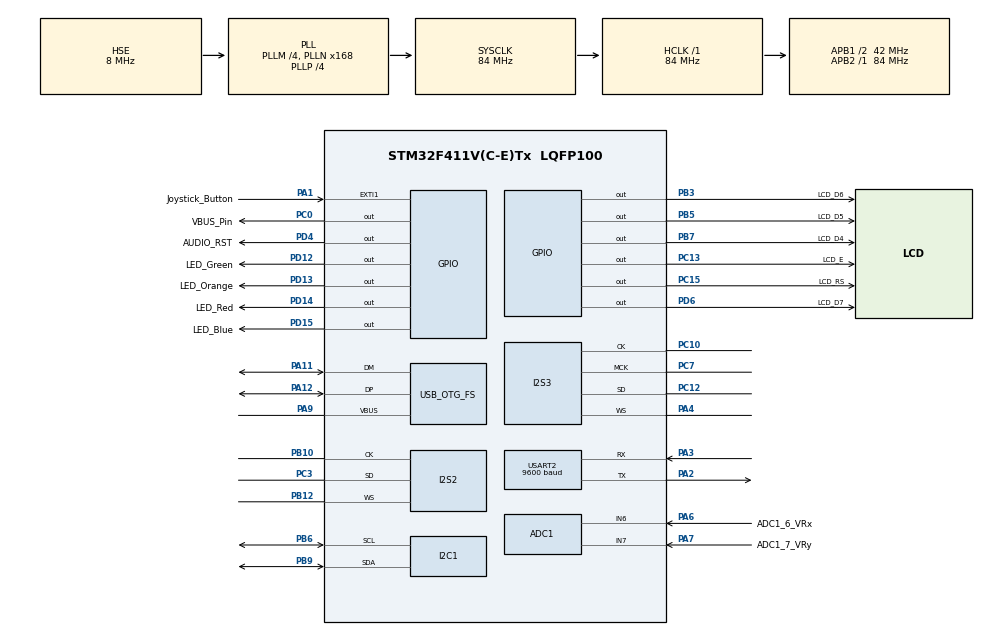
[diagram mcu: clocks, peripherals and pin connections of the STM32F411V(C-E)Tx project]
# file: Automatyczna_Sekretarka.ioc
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ADC1.Channel-0\#ChannelRegularConversion=ADC_CHANNEL_7
ADC1.Channel-1\#ChannelRegularConversion=ADC_CHANNEL_6
ADC1.ClockPrescaler=ADC_CLOCK_SYNC_PCLK_DIV8
ADC1.ContinuousConvMode=ENABLE
ADC1.DMAContinuousRequests=ENABLE
ADC1.NbrOfConversion=2
ADC1.NbrOfConversionFlag=1
ADC1.Rank-0\#ChannelRegularConversion=1
ADC1.Rank-1\#ChannelRegularConversion=2
ADC1.SamplingTime-0\#ChannelRegularConversion=ADC_SAMPLETIME_480CYCLES
ADC1.SamplingTime-1\#ChannelRegularConversion=ADC_SAMPLETIME_480CYCLES
ADC1.master=1
Dma.ADC1.2.Direction=DMA_PERIPH_TO_MEMORY
Dma.ADC1.2.FIFOMode=DMA_FIFOMODE_DISABLE
Dma.ADC1.2.Instance=DMA2_Stream0
Dma.ADC1.2.MemDataAlignment=DMA_MDATAALIGN_HALFWORD
Dma.ADC1.2.MemInc=DMA_MINC_ENABLE
Dma.ADC1.2.Mode=DMA_CIRCULAR
Dma.ADC1.2.PeriphDataAlignment=DMA_PDATAALIGN_HALFWORD
Dma.ADC1.2.PeriphInc=DMA_PINC_DISABLE
Dma.ADC1.2.Priority=DMA_PRIORITY_LOW
Dma.Request0=SPI2_RX
Dma.Request1=SPI3_TX
Dma.Request2=ADC1
Dma.SPI2_RX.0.Direction=DMA_PERIPH_TO_MEMORY
Dma.SPI2_RX.0.FIFOMode=DMA_FIFOMODE_DISABLE
Dma.SPI2_RX.0.Instance=DMA1_Stream3
Dma.SPI2_RX.0.MemDataAlignment=DMA_MDATAALIGN_HALFWORD
Dma.SPI2_RX.0.MemInc=DMA_MINC_ENABLE
Dma.SPI2_RX.0.Mode=DMA_CIRCULAR
Dma.SPI2_RX.0.PeriphDataAlignment=DMA_PDATAALIGN_HALFWORD
Dma.SPI2_RX.0.PeriphInc=DMA_PINC_DISABLE
Dma.SPI2_RX.0.Priority=DMA_PRIORITY_HIGH
Dma.SPI3_TX.1.Direction=DMA_MEMORY_TO_PERIPH
Dma.SPI3_TX.1.FIFOMode=DMA_FIFOMODE_ENABLE
Dma.SPI3_TX.1.FIFOThreshold=DMA_FIFO_THRESHOLD_FULL
Dma.SPI3_TX.1.Instance=DMA1_Stream5
Dma.SPI3_TX.1.MemBurst=DMA_MBURST_SINGLE
Dma.SPI3_TX.1.MemDataAlignment=DMA_MDATAALIGN_HALFWORD
Dma.SPI3_TX.1.MemInc=DMA_MINC_ENABLE
Dma.SPI3_TX.1.Mode=DMA_CIRCULAR
Dma.SPI3_TX.1.PeriphBurst=DMA_PBURST_SINGLE
Dma.SPI3_TX.1.PeriphDataAlignment=DMA_PDATAALIGN_HALFWORD
Dma.SPI3_TX.1.PeriphInc=DMA_PINC_DISABLE
Dma.SPI3_TX.1.Priority=DMA_PRIORITY_HIGH
FATFS._MAX_SS=4096
I2S2.AudioFreq=I2S_AUDIOFREQ_16K
I2S2.ErrorAudioFreq=0.24 %
I2S2.FullDuplexMode=I2S_FULLDUPLEXMODE_DISABLE
I2S2.Instance=SPI$Index
I2S2.Mode=I2S_MODE_SLAVE_RX
I2S2.RealAudioFreq=16.039 KHz
I2S2.VirtualMode=I2S_MODE_SLAVE
I2S3.AudioFreq=I2S_AUDIOFREQ_44K
I2S3.ErrorAudioFreq=0.24 %
I2S3.FullDuplexMode=I2S_FULLDUPLEXMODE_DISABLE
I2S3.Instance=SPI$Index
I2S3.RealAudioFreq=44.108 KHz
I2S3.VirtualMode=I2S_MODE_MASTER
Mcu.Family=STM32F4
Mcu.Name=STM32F411V(C-E)Tx
Mcu.Package=LQFP100
NVIC.DMA1_Stream3_IRQn=true\:0\:0\:false\:false\:true\:false\:true
NVIC.DMA1_Stream5_IRQn=true\:0\:0\:false\:false\:true\:false\:true
NVIC.DMA2_Stream0_IRQn=true\:0\:0\:false\:false\:true\:false\:true
NVIC.EXTI1_IRQn=true\:15\:0\:true\:false\:true\:true\:true
NVIC.OTG_FS_IRQn=true\:0\:0\:false\:false\:true\:false\:true
NVIC.PriorityGroup=NVIC_PRIORITYGROUP_4
PA1.GPIO_Label=Joystick_Button
PA1.GPIO_PuPd=GPIO_PULLUP
PA1.Signal=GPXTI1
PA11.Mode=Host_Only
PA11.Signal=USB_OTG_FS_DM
PA12.Mode=Host_Only
PA12.Signal=USB_OTG_FS_DP
PA2.Mode=Asynchronous
PA2.Signal=USART2_TX
PA3.Mode=Asynchronous
PA3.Signal=USART2_RX
PA4.Mode=Half_Duplex_Master
PA4.Signal=I2S3_WS
PA6.GPIO_Label=ADC1_6_VRx
PA6.Signal=ADCx_IN6
PA7.GPIO_Label=ADC1_7_VRy
PA7.Signal=ADCx_IN7
PA9.Mode=Activate_VBUS
PA9.Signal=USB_OTG_FS_VBUS
PB10.Mode=Half_Duplex_Slave
PB10.Signal=I2S2_CK
PB12.Mode=Half_Duplex_Slave
PB12.Signal=I2S2_WS
PB3.GPIO_Label=LCD_D6
PB3.Signal=GPIO_Output
PB5.GPIO_Label=LCD_D5
PB5.Signal=GPIO_Output
PB6.Mode=I2C
PB6.Signal=I2C1_SCL
PB7.GPIO_Label=LCD_D4
PB7.Signal=GPIO_Output
PB9.Mode=I2C
PB9.Signal=I2C1_SDA
PC0.GPIO_Label=VBUS_Pin
PC0.Signal=GPIO_Output
PC10.Mode=Half_Duplex_Master
PC10.Signal=I2S3_CK
PC12.Mode=Half_Duplex_Master
PC12.Signal=I2S3_SD
PC13-ANTI_TAMP.GPIO_Label=LCD_E
PC13-ANTI_TAMP.Signal=GPIO_Output
PC15-OSC32_OUT.GPIO_Label=LCD_RS
PC15-OSC32_OUT.Signal=GPIO_Output
PC3.Mode=Half_Duplex_Slave
PC3.Signal=I2S2_SD
PC7.Mode=Master_Clock_Activated
PC7.Signal=I2S3_MCK
PD12.GPIO_Label=LED_Green
PD12.Signal=GPIO_Output
PD13.GPIO_Label=LED_Orange
PD13.Signal=GPIO_Output
PD14.GPIO_Label=LED_Red
PD14.Signal=GPIO_Output
PD15.GPIO_Label=LED_Blue
PD15.Signal=GPIO_Output
PD4.GPIO_Label=AUDIO_RST
PD4.Signal=GPIO_Output
PD6.GPIO_Label=LCD_D7
PD6.Signal=GPIO_Output
PH0\ -\ OSC_IN.Mode=HSE-External-Oscillator
PH0\ -\ OSC_IN.Signal=RCC_OSC_IN
PH1\ -\ OSC_OUT.Mode=HSE-External-Oscillator
PH1\ -\ OSC_OUT.Signal=RCC_OSC_OUT
ProjectManager.HeapSize=0x200
ProjectManager.StackSize=0x400
ProjectManager.TargetToolchain=STM32CubeIDE
RCC.48MHZClocksFreq_Value=48000000
RCC.AHBFreq_Value=84000000
RCC.APB1CLKDivider=RCC_HCLK_DIV2
RCC.APB1Freq_Value=42000000
RCC.APB1TimFreq_Value=84000000
RCC.APB2Freq_Value=84000000
RCC.APB2TimFreq_Value=84000000
RCC.CortexFreq_Value=84000000
RCC.HCLKFreq_Value=84000000
RCC.HSE_VALUE=8000000
RCC.HSI_VALUE=16000000
RCC.LSE_VALUE=32768
RCC.PLLI2SM=8
RCC.PLLI2SN=271
RCC.PLLI2SR=6
RCC.PLLM=4
RCC.PLLN=168
RCC.PLLP=RCC_PLLP_DIV4
RCC.PLLQ=7
RCC.SYSCLKFreq_VALUE=84000000
RCC.SYSCLKSource=RCC_SYSCLKSOURCE_PLLCLK
RCC.VCOOutputFreq_Value=336000000
SH.ADCx_IN6.0=ADC1_IN6,IN6
SH.ADCx_IN7.0=ADC1_IN7,IN7
USART2.BaudRate=9600
USART2.VirtualMode=VM_ASYNC
USB_HOST.BSP.number=1
USB_HOST.USBH_HandleTypeDef=hUsbHostFS
USB_HOST.VirtualModeFS=Msc
USB_HOST0.BSP.STBoard=false
USB_HOST0.BSP.api=Unknown
USB_HOST0.BSP.i2caddr=0
USB_HOST0.BSP.instance=PC0
USB_HOST0.BSP.ip=GPIO
USB_HOST0.BSP.mode=Output
USB_HOST0.BSP.name=Drive_VBUS_FS
USB_HOST0.BSP.solution=PC0
USB_OTG_FS.VirtualMode=Host_Only
USB_OTG_FS.phy_itface=HCD_PHY_EMBEDDED
VP_CRC_VS_CRC.Mode=CRC_Activate
VP_FATFS_VS_USB.Mode=USB
VP_PDM2PCM_VS_PDM2PCM.Mode=PDM2PCM_Channel
VP_USB_HOST_VS_USB_HOST_MSC_FS.Mode=MSC_FS
board=custom

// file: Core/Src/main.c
/* USER CODE BEGIN Header */
/**
 ******************************************************************************
 * @file           : main.c
 * @brief          : Main program body
 ******************************************************************************
 * @attention
 *
 * <h2><center>&copy; Copyright (c) 2021 STMicroelectronics.
 * All rights reserved.</center></h2>
 *
 * This software component is licensed by ST under BSD 3-Clause license,
 * the "License"; You may not use this file except in compliance with the
 * License. You may obtain a copy of the License at:
 *                        opensource.org/licenses/BSD-3-Clause
 *
 ******************************************************************************
 */
/* USER CODE END Header */
#include "main.h"
#include "fatfs.h"
#include "pdm2pcm.h"
#include "usb_host.h"

/* USER CODE BEGIN Includes */
#include "lcd.h"
#include "lcd_menu.h"
#include "joystick.h"
/* USER CODE END Includes */

/* USER CODE BEGIN PD */
#define MAIN_MENU_LEN sizeof(mainMenu) / sizeof(mainMenu[0])
#define INFO_LEN sizeof(info) / sizeof(info[0])
/* USER CODE END PD */

ADC_HandleTypeDef hadc1;
DMA_HandleTypeDef hdma_adc1;

CRC_HandleTypeDef hcrc;

I2C_HandleTypeDef hi2c1;

I2S_HandleTypeDef hi2s2;
I2S_HandleTypeDef hi2s3;
DMA_HandleTypeDef hdma_spi2_rx;
DMA_HandleTypeDef hdma_spi3_tx;

UART_HandleTypeDef huart2;

/* USER CODE BEGIN PV */

// Pliki FATFS
extern FATFS USBHFatFS;
extern char USBHPath[4];

// status USB
extern ApplicationTypeDef Appli_state;

// status nagrywania
__IO uint32_t recordingStatus = STATUS_RECORDING_INACTIVE;

// Wartosci joysticka
uint16_t Joystick[2];

/* Status odtwarzania
 PLAY_Idle,
 PLAY_Pause,
 PLAY_Resume,
 */
PLAY_State_e playingStatus = PLAY_Idle;

// LCD
Lcd_HandleTypeDef lcd;

// Zakladki menu glownego
char *mainMenu[] = { "Nagraj", "Wiadomosci", "Informacje" };

/* USER CODE END PV */

void SystemClock_Config(void);
static void MX_GPIO_Init(void);
static void MX_DMA_Init(void);
static void MX_I2S2_Init(void);
static void MX_CRC_Init(void);
static void MX_I2C1_Init(void);
static void MX_I2S3_Init(void);
static void MX_ADC1_Init(void);
static void MX_USART2_UART_Init(void);
void MX_USB_HOST_Process(void);

/* USER CODE BEGIN PFP */

// Funkcja do szybkiego debugowania z wykorzystaniem UART
void Info_UART(char *info) {
	HAL_UART_Transmit(&huart2, (uint8_t*) info, strlen(info), HAL_MAX_DELAY); // tryb blokujacy
}

// Przerwanie pochodzace od przycisku
void HAL_GPIO_EXTI_Callback(uint16_t GPIO_Pin) {
	if (GPIO_Pin == GPIO_PIN_1) {
		Info_UART("Wcisnieto przycisk\r\n");
		if (playingStatus == PLAY_Resume) {
			playingStatus = PLAY_Pause;
		} else if (playingStatus == PLAY_Pause) {
			playingStatus = PLAY_Resume;
		}
	}
}

/* USER CODE END PFP */

int main(void)
{

  /* MCU Configuration--------------------------------------------------------*/

  /* Reset of all peripherals, Initializes the Flash interface and the Systick. */
  HAL_Init();

  /* Configure the system clock */
  SystemClock_Config();

  /* Initialize all configured peripherals */
  MX_GPIO_Init();
  MX_DMA_Init();
  MX_I2S2_Init();
  MX_CRC_Init();
  MX_FATFS_Init();
  MX_PDM2PCM_Init();
  MX_USB_HOST_Init();
  MX_I2C1_Init();
  MX_I2S3_Init();
  MX_ADC1_Init();
  MX_USART2_UART_Init();
  /* USER CODE BEGIN 2 */

	// LCD
	Lcd_PortType ports[] = { LCD_D4_GPIO_Port, LCD_D5_GPIO_Port,
	LCD_D6_GPIO_Port,
	LCD_D7_GPIO_Port };

	Lcd_PinType pins[] = { LCD_D4_Pin, LCD_D5_Pin, LCD_D6_Pin, LCD_D7_Pin };

	lcd = Lcd_create(ports, pins, LCD_RS_GPIO_Port, LCD_RS_Pin, LCD_E_GPIO_Port,
	LCD_E_Pin, LCD_4_BIT_MODE);

	HAL_ADC_Start_DMA(&hadc1, Joystick, 2);
	CS43L22_Init(hi2c1);
	CS43L22_SetVolume(180); //0-255

	audioI2S_setHandle(&hi2s3);

	// Status joysticka. Ustawiany na podstawie przetworzonych pomiarow.
	int joystickState = 0;

	// Status przycisku joysticka. 1 - wcisniety, 0 - puszczony.
	int joystickButtonState = 0;

	// Przechowuje aktualna pozycje w menu w pionie.
	int mainMenuUpDown = 0;

	// Przechowuje aktualna pozycje w menu w poziomie.
	//int mainMenuLeftRight = 0;

	// Przechowuje indeks pierwszej opcji aktualnie wyswietlanej w menu.
	int menuStartingPoint = 0;

	bool isSdCardMounted = 0;

	// poczatkowe wyswietlenie menu
	setCursor(0, 0);
	printMenu(mainMenu, MAIN_MENU_LEN, 0);

  /* USER CODE END 2 */

  /* Infinite loop */
	while (1) {
    MX_USB_HOST_Process();

    /* USER CODE BEGIN 3 */

		// Sprawdza czy podlaczono pamiec USB
		if (Appli_state == APPLICATION_START) {
			HAL_GPIO_WritePin(GPIOD, GPIO_PIN_12, GPIO_PIN_SET);
		}
		// Sprawdza czy rozlaczono pamiec USB
		else if (Appli_state == APPLICATION_DISCONNECT) {
			HAL_GPIO_WritePin(GPIOD, GPIO_PIN_12, GPIO_PIN_RESET);
			f_mount(NULL, (TCHAR const*) "", 0);
			isSdCardMounted = 0;
		}

		// Sprawdza czy pamiec USB jest przygotowana
		if (Appli_state == APPLICATION_READY) {

			// montuje pamiec USB
			if (!isSdCardMounted) {
				f_mount(&USBHFatFS, (const TCHAR*) USBHPath, 0);
				isSdCardMounted = 1;
				checkFiles();
			}

			// Sprawdza wychylenie joysticka. Funkcja zwraca status, nie wartosc pomiaru.
			// Status jest analizowany w dalszej czesci w funkcji updateMenu()
			joystickState = Joystick_State();

			// Sprawdza, czy przycisk joysticka jest wcisniety.
			joystickButtonState = (!HAL_GPIO_ReadPin(Joystick_Button_GPIO_Port,
			Joystick_Button_Pin));

			// Jezeli poruszono joystickiem w dol lub w gore.
			if (joystickState == 1 || joystickState == 2) {
				updateMenu(&mainMenu, MAIN_MENU_LEN, &mainMenuUpDown,
						&menuStartingPoint, joystickState);
			}

			// Jezeli wcisnieto przycisk.
			if (joystickButtonState) {

				// Oczekiwanie na puszczenie przycisku.
				while (joystickButtonState != 0) {
					joystickButtonState = !HAL_GPIO_ReadPin(GPIOA, GPIO_PIN_1);
				}

				// Wyczyszczenie LCD
				clearLCD();

				// Realizacja wybranej opcji.
				menuClicked(mainMenuUpDown);

				// Powrot do glownego menu. Dla tego menu wystarczy je wyswietlic, dla innych trzeba wywolac odpowiednia funkcje.
				printMenu(mainMenu, MAIN_MENU_LEN, 0); // wyswietlenie glownego menu
				menuStartingPoint = 0; // zresetowanie punktu startowego
				mainMenuUpDown = 0; // zresetowanie aktualnie wybranej opcji
			}
		}

	}

  /* USER CODE END 3 */
}

void SystemClock_Config(void)
{
  RCC_OscInitTypeDef RCC_OscInitStruct = {0};
  RCC_ClkInitTypeDef RCC_ClkInitStruct = {0};
  RCC_PeriphCLKInitTypeDef PeriphClkInitStruct = {0};

  /** Configure the main internal regulator output voltage
  */
  __HAL_RCC_PWR_CLK_ENABLE();
  __HAL_PWR_VOLTAGESCALING_CONFIG(PWR_REGULATOR_VOLTAGE_SCALE1);
  /** Initializes the RCC Oscillators according to the specified parameters
  * in the RCC_OscInitTypeDef structure.
  */
  RCC_OscInitStruct.OscillatorType = RCC_OSCILLATORTYPE_HSE;
  RCC_OscInitStruct.HSEState = RCC_HSE_ON;
  RCC_OscInitStruct.PLL.PLLState = RCC_PLL_ON;
  RCC_OscInitStruct.PLL.PLLSource = RCC_PLLSOURCE_HSE;
  RCC_OscInitStruct.PLL.PLLM = 4;
  RCC_OscInitStruct.PLL.PLLN = 168;
  RCC_OscInitStruct.PLL.PLLP = RCC_PLLP_DIV4;
  RCC_OscInitStruct.PLL.PLLQ = 7;
  if (HAL_RCC_OscConfig(&RCC_OscInitStruct) != HAL_OK)
  {
    Error_Handler();
  }
  /** Initializes the CPU, AHB and APB buses clocks
  */
  RCC_ClkInitStruct.ClockType = RCC_CLOCKTYPE_HCLK|RCC_CLOCKTYPE_SYSCLK
                              |RCC_CLOCKTYPE_PCLK1|RCC_CLOCKTYPE_PCLK2;
  RCC_ClkInitStruct.SYSCLKSource = RCC_SYSCLKSOURCE_PLLCLK;
  RCC_ClkInitStruct.AHBCLKDivider = RCC_SYSCLK_DIV1;
  RCC_ClkInitStruct.APB1CLKDivider = RCC_HCLK_DIV2;
  RCC_ClkInitStruct.APB2CLKDivider = RCC_HCLK_DIV1;

  if (HAL_RCC_ClockConfig(&RCC_ClkInitStruct, FLASH_LATENCY_2) != HAL_OK)
  {
    Error_Handler();
  }
  PeriphClkInitStruct.PeriphClockSelection = RCC_PERIPHCLK_I2S;
  PeriphClkInitStruct.PLLI2S.PLLI2SN = 271;
  PeriphClkInitStruct.PLLI2S.PLLI2SM = 8;
  PeriphClkInitStruct.PLLI2S.PLLI2SR = 6;
  if (HAL_RCCEx_PeriphCLKConfig(&PeriphClkInitStruct) != HAL_OK)
  {
    Error_Handler();
  }
}

static void MX_ADC1_Init(void)
{

  ADC_ChannelConfTypeDef sConfig = {0};

  /** Configure the global features of the ADC (Clock, Resolution, Data Alignment and number of conversion)
  */
  hadc1.Instance = ADC1;
  hadc1.Init.ClockPrescaler = ADC_CLOCK_SYNC_PCLK_DIV8;
  hadc1.Init.Resolution = ADC_RESOLUTION_12B;
  hadc1.Init.ScanConvMode = ENABLE;
  hadc1.Init.ContinuousConvMode = ENABLE;
  hadc1.Init.DiscontinuousConvMode = DISABLE;
  hadc1.Init.ExternalTrigConvEdge = ADC_EXTERNALTRIGCONVEDGE_NONE;
  hadc1.Init.ExternalTrigConv = ADC_SOFTWARE_START;
  hadc1.Init.DataAlign = ADC_DATAALIGN_RIGHT;
  hadc1.Init.NbrOfConversion = 2;
  hadc1.Init.DMAContinuousRequests = ENABLE;
  hadc1.Init.EOCSelection = ADC_EOC_SINGLE_CONV;
  if (HAL_ADC_Init(&hadc1) != HAL_OK)
  {
    Error_Handler();
  }
  /** Configure for the selected ADC regular channel its corresponding rank in the sequencer and its sample time.
  */
  sConfig.Channel = ADC_CHANNEL_7;
  sConfig.Rank = 1;
  sConfig.SamplingTime = ADC_SAMPLETIME_480CYCLES;
  if (HAL_ADC_ConfigChannel(&hadc1, &sConfig) != HAL_OK)
  {
    Error_Handler();
  }
  /** Configure for the selected ADC regular channel its corresponding rank in the sequencer and its sample time.
  */
  sConfig.Channel = ADC_CHANNEL_6;
  sConfig.Rank = 2;
  if (HAL_ADC_ConfigChannel(&hadc1, &sConfig) != HAL_OK)
  {
    Error_Handler();
  }

}

static void MX_CRC_Init(void)
{

  hcrc.Instance = CRC;
  if (HAL_CRC_Init(&hcrc) != HAL_OK)
  {
    Error_Handler();
  }
  __HAL_CRC_DR_RESET(&hcrc);

}

static void MX_I2C1_Init(void)
{

  hi2c1.Instance = I2C1;
  hi2c1.Init.ClockSpeed = 100000;
  hi2c1.Init.DutyCycle = I2C_DUTYCYCLE_2;
  hi2c1.Init.OwnAddress1 = 0;
  hi2c1.Init.AddressingMode = I2C_ADDRESSINGMODE_7BIT;
  hi2c1.Init.DualAddressMode = I2C_DUALADDRESS_DISABLE;
  hi2c1.Init.OwnAddress2 = 0;
  hi2c1.Init.GeneralCallMode = I2C_GENERALCALL_DISABLE;
  hi2c1.Init.NoStretchMode = I2C_NOSTRETCH_DISABLE;
  if (HAL_I2C_Init(&hi2c1) != HAL_OK)
  {
    Error_Handler();
  }

}

static void MX_I2S2_Init(void)
{

  hi2s2.Instance = SPI2;
  hi2s2.Init.Mode = I2S_MODE_SLAVE_RX;
  hi2s2.Init.Standard = I2S_STANDARD_PHILIPS;
  hi2s2.Init.DataFormat = I2S_DATAFORMAT_16B;
  hi2s2.Init.MCLKOutput = I2S_MCLKOUTPUT_DISABLE;
  hi2s2.Init.AudioFreq = I2S_AUDIOFREQ_16K;
  hi2s2.Init.CPOL = I2S_CPOL_LOW;
  hi2s2.Init.ClockSource = I2S_CLOCK_PLL;
  hi2s2.Init.FullDuplexMode = I2S_FULLDUPLEXMODE_DISABLE;
  if (HAL_I2S_Init(&hi2s2) != HAL_OK)
  {
    Error_Handler();
  }

}

static void MX_I2S3_Init(void)
{

  hi2s3.Instance = SPI3;
  hi2s3.Init.Mode = I2S_MODE_MASTER_TX;
  hi2s3.Init.Standard = I2S_STANDARD_PHILIPS;
  hi2s3.Init.DataFormat = I2S_DATAFORMAT_16B;
  hi2s3.Init.MCLKOutput = I2S_MCLKOUTPUT_ENABLE;
  hi2s3.Init.AudioFreq = I2S_AUDIOFREQ_44K;
  hi2s3.Init.CPOL = I2S_CPOL_LOW;
  hi2s3.Init.ClockSource = I2S_CLOCK_PLL;
  hi2s3.Init.FullDuplexMode = I2S_FULLDUPLEXMODE_DISABLE;
  if (HAL_I2S_Init(&hi2s3) != HAL_OK)
  {
    Error_Handler();
  }

}

static void MX_USART2_UART_Init(void)
{

  huart2.Instance = USART2;
  huart2.Init.BaudRate = 9600;
  huart2.Init.WordLength = UART_WORDLENGTH_8B;
  huart2.Init.StopBits = UART_STOPBITS_1;
  huart2.Init.Parity = UART_PARITY_NONE;
  huart2.Init.Mode = UART_MODE_TX_RX;
  huart2.Init.HwFlowCtl = UART_HWCONTROL_NONE;
  huart2.Init.OverSampling = UART_OVERSAMPLING_16;
  if (HAL_UART_Init(&huart2) != HAL_OK)
  {
    Error_Handler();
  }

}

static void MX_DMA_Init(void)
{

  /* DMA controller clock enable */
  __HAL_RCC_DMA1_CLK_ENABLE();
  __HAL_RCC_DMA2_CLK_ENABLE();

  /* DMA interrupt init */
  /* DMA1_Stream3_IRQn interrupt configuration */
  HAL_NVIC_SetPriority(DMA1_Stream3_IRQn, 0, 0);
  HAL_NVIC_EnableIRQ(DMA1_Stream3_IRQn);
  /* DMA1_Stream5_IRQn interrupt configuration */
  HAL_NVIC_SetPriority(DMA1_Stream5_IRQn, 0, 0);
  HAL_NVIC_EnableIRQ(DMA1_Stream5_IRQn);
  /* DMA2_Stream0_IRQn interrupt configuration */
  HAL_NVIC_SetPriority(DMA2_Stream0_IRQn, 0, 0);
  HAL_NVIC_EnableIRQ(DMA2_Stream0_IRQn);

}

static void MX_GPIO_Init(void)
{
  GPIO_InitTypeDef GPIO_InitStruct = {0};

  /* GPIO Ports Clock Enable */
  __HAL_RCC_GPIOC_CLK_ENABLE();
  __HAL_RCC_GPIOH_CLK_ENABLE();
  __HAL_RCC_GPIOA_CLK_ENABLE();
  __HAL_RCC_GPIOB_CLK_ENABLE();
  __HAL_RCC_GPIOD_CLK_ENABLE();

  /*Configure GPIO pin Output Level */
  HAL_GPIO_WritePin(GPIOC, LCD_E_Pin|LCD_RS_Pin|VBUS_Pin_Pin, GPIO_PIN_RESET);

  /*Configure GPIO pin Output Level */
  HAL_GPIO_WritePin(GPIOD, LED_Green_Pin|LED_Orange_Pin|LED_Red_Pin|LED_Blue_Pin
                          |AUDIO_RST_Pin|LCD_D7_Pin, GPIO_PIN_RESET);

  /*Configure GPIO pin Output Level */
  HAL_GPIO_WritePin(GPIOB, LCD_D6_Pin|LCD_D5_Pin|LCD_D4_Pin, GPIO_PIN_RESET);

  /*Configure GPIO pins : LCD_E_Pin LCD_RS_Pin VBUS_Pin_Pin */
  GPIO_InitStruct.Pin = LCD_E_Pin|LCD_RS_Pin|VBUS_Pin_Pin;
  GPIO_InitStruct.Mode = GPIO_MODE_OUTPUT_PP;
  GPIO_InitStruct.Pull = GPIO_NOPULL;
  GPIO_InitStruct.Speed = GPIO_SPEED_FREQ_LOW;
  HAL_GPIO_Init(GPIOC, &GPIO_InitStruct);

  /*Configure GPIO pin : Joystick_Button_Pin */
  GPIO_InitStruct.Pin = Joystick_Button_Pin;
  GPIO_InitStruct.Mode = GPIO_MODE_IT_RISING;
  GPIO_InitStruct.Pull = GPIO_PULLUP;
  HAL_GPIO_Init(Joystick_Button_GPIO_Port, &GPIO_InitStruct);

  /*Configure GPIO pins : LED_Green_Pin LED_Orange_Pin LED_Red_Pin LED_Blue_Pin
                           AUDIO_RST_Pin LCD_D7_Pin */
  GPIO_InitStruct.Pin = LED_Green_Pin|LED_Orange_Pin|LED_Red_Pin|LED_Blue_Pin
                          |AUDIO_RST_Pin|LCD_D7_Pin;
  GPIO_InitStruct.Mode = GPIO_MODE_OUTPUT_PP;
  GPIO_InitStruct.Pull = GPIO_NOPULL;
  GPIO_InitStruct.Speed = GPIO_SPEED_FREQ_LOW;
  HAL_GPIO_Init(GPIOD, &GPIO_InitStruct);

  /*Configure GPIO pins : LCD_D6_Pin LCD_D5_Pin LCD_D4_Pin */
  GPIO_InitStruct.Pin = LCD_D6_Pin|LCD_D5_Pin|LCD_D4_Pin;
  GPIO_InitStruct.Mode = GPIO_MODE_OUTPUT_PP;
  GPIO_InitStruct.Pull = GPIO_NOPULL;
  GPIO_InitStruct.Speed = GPIO_SPEED_FREQ_LOW;
  HAL_GPIO_Init(GPIOB, &GPIO_InitStruct);

  /* EXTI interrupt init*/
  HAL_NVIC_SetPriority(EXTI1_IRQn, 15, 0);
  HAL_NVIC_EnableIRQ(EXTI1_IRQn);

}

void Error_Handler(void)
{
	__disable_irq();
	while (1) {
	}
}

/************************ (C) COPYRIGHT STMicroelectronics *****END OF FILE****/
